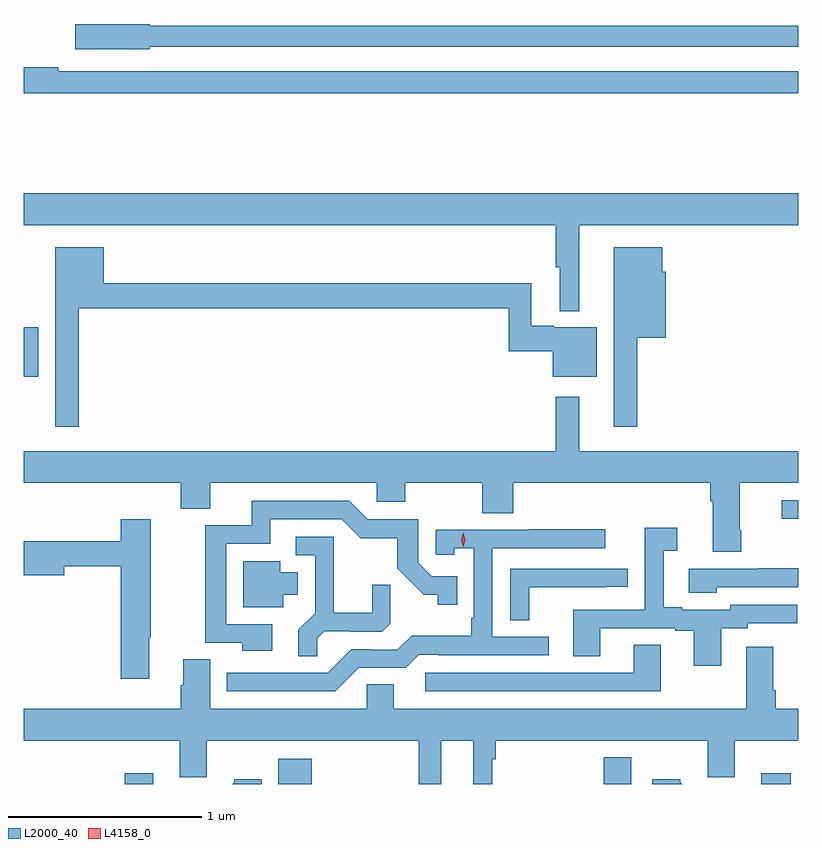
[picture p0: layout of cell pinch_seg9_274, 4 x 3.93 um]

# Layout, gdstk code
import gdstk
lib = gdstk.Library(unit=1e-6, precision=1e-09)
def R(c, l, rs):  # rectangles x0, y0, x1, y1
    for r in rs: c.add(gdstk.rectangle(r[:2], r[2:], *l))
def P(c, l, *ps):  # polygons
    for p in ps: c.add(gdstk.Polygon(p, *l))
L2000_40 = (2000, 40)
L4158_0 = (4158, 0)

pinch_seg9_274 = lib.new_cell('pinch_seg9_274')
R(pinch_seg9_274, L2000_40, [(418.45,1182.876,418.597,1182.931), (419.243,1182.876,419.417,1183.006), (420.925,1182.876,421.068,1183.015), (421.739,1182.876,421.892,1182.931), (421.845,1184.247,421.929,1184.343), (417.929,1184.981,418.003,1185.235)])
P(pinch_seg9_274, L2000_40, [(418.578,1186.686),(421.929,1186.686),(421.929,1186.795),(418.578,1186.795),(418.578,1186.803),(418.194,1186.803),(418.194,1186.673),(418.578,1186.673)],
  [(421.929,1186.56),(418.106,1186.56),(418.106,1186.58),(417.929,1186.58),(417.929,1186.444),(421.929,1186.444)],
  [(420.799,1185.764),(421.929,1185.764),(421.929,1185.928),(417.929,1185.928),(417.929,1185.764),(420.678,1185.764),(420.678,1185.547),(420.697,1185.547),(420.697,1185.32),(420.799,1185.32)],
  [(421.099,1185.182),(421.246,1185.182),(421.246,1185.522),(421.228,1185.522),(421.228,1185.649),(420.977,1185.649),(420.977,1184.721),(421.099,1184.721)],
  [(418.213,1185.334),(420.433,1185.334),(420.433,1185.112),(420.662,1185.112),(420.662,1184.981),(420.889,1184.981),(420.889,1185.235),(420.666,1185.235),(420.666,1185.245),(420.55,1185.245),(420.55,1185.463),(418.342,1185.463),(418.342,1185.649),(418.091,1185.649),(418.091,1184.721),(418.213,1184.721)],
  [(421.635,1184.188),(421.627,1184.188),(421.627,1184.432),(421.929,1184.432),(421.929,1184.596),(420.799,1184.596),(420.799,1184.878),(420.678,1184.878),(420.678,1184.596),(417.929,1184.596),(417.929,1184.432),(418.739,1184.432),(418.739,1184.299),(418.891,1184.299),(418.891,1184.432),(419.751,1184.432),(419.751,1184.334),(419.898,1184.334),(419.898,1184.432),(420.298,1184.432),(420.298,1184.275),(420.458,1184.275),(420.458,1184.432),(421.475,1184.432),(421.475,1184.336),(421.487,1184.336),(421.487,1184.076),(421.635,1184.076)],
  [(419.212,1183.701),(418.974,1183.701),(418.974,1184.118),(419.203,1184.118),(419.203,1184.244),(419.571,1184.244),(419.67,1184.146),(419.859,1184.146),(419.859,1183.99),(419.996,1183.853),(420.066,1183.853),(420.066,1183.803),(420.167,1183.803),(420.167,1183.95),(420.036,1183.95),(419.967,1184.019),(419.967,1184.244),(419.706,1184.244),(419.61,1184.34),(419.105,1184.34),(419.105,1184.214),(418.866,1184.214),(418.866,1183.605),(419.056,1183.605),(419.056,1183.565),(419.212,1183.565)],
  [(418.576,1183.631),(418.584,1183.631),(418.584,1184.245),(418.43,1184.245),(418.43,1184.131),(417.929,1184.131),(417.929,1183.955),(418.138,1183.955),(418.138,1184.002),(418.43,1184.002),(418.43,1183.419),(418.576,1183.419)],
  [(421.531,1183.68),(421.668,1183.68),(421.668,1183.707),(421.924,1183.707),(421.924,1183.803),(421.578,1183.803),(421.578,1183.776),(421.33,1183.776),(421.33,1183.789),(421.234,1183.789),(421.234,1184.08),(421.306,1184.08),(421.306,1184.2),(421.137,1184.2),(421.137,1183.776),(420.767,1183.776),(420.767,1183.537),(420.907,1183.537),(420.907,1183.68),(421.295,1183.68),(421.295,1183.668),(421.391,1183.668),(421.391,1183.488),(421.531,1183.488)],
  [(419.658,1183.476),(419.901,1183.476),(419.97,1183.545),(420.07,1183.545),(420.07,1183.542),(420.64,1183.542),(420.64,1183.638),(420.348,1183.638),(420.348,1184.094),(420.934,1184.094),(420.934,1184.193),(420.541,1184.193),(420.541,1184.19),(420.057,1184.19),(420.057,1184.061),(420.153,1184.061),(420.153,1184.093),(420.252,1184.093),(420.252,1183.735),(420.24,1183.735),(420.24,1183.642),(419.932,1183.642),(419.859,1183.569),(419.72,1183.569),(419.72,1183.572),(419.619,1183.572),(419.499,1183.452),(418.976,1183.452),(418.976,1183.356),(419.538,1183.356)],
  [(419.445,1183.628),(419.482,1183.665),(419.616,1183.665),(419.616,1183.662),(419.781,1183.662),(419.822,1183.703),(419.822,1183.905),(419.728,1183.905),(419.728,1183.762),(419.531,1183.762),(419.531,1184.154),(419.334,1184.154),(419.334,1184.058),(419.433,1184.058),(419.433,1183.759),(419.347,1183.673),(419.347,1183.537),(419.445,1183.537)],
  [(419.269,1183.853),(419.344,1183.853),(419.344,1183.969),(419.254,1183.969),(419.254,1184.026),(419.063,1184.026),(419.063,1183.79),(419.269,1183.79)],
  [(421.509,1183.893),(421.929,1183.893),(421.929,1183.992),(421.723,1183.992),(421.723,1183.989),(421.365,1183.989),(421.365,1183.865),(421.509,1183.865)],
  [(420.54,1183.893),(420.935,1183.893),(420.935,1183.894),(421.048,1183.894),(421.048,1183.989),(420.441,1183.989),(420.441,1183.723),(420.54,1183.723)],
  [(421.219,1183.595),(421.079,1183.595),(421.079,1183.452),(420.003,1183.452),(420.003,1183.356),(421.219,1183.356)],
  [(420.085,1183.1),(420.251,1183.1),(420.251,1182.876),(420.348,1182.876),(420.348,1183.004),(420.368,1183.004),(420.368,1183.1),(421.463,1183.1),(421.463,1182.91),(421.603,1182.91),(421.603,1183.1),(421.929,1183.1),(421.929,1183.264),(421.814,1183.264),(421.814,1183.36),(421.801,1183.36),(421.801,1183.585),(421.661,1183.585),(421.661,1183.264),(419.839,1183.264),(419.839,1183.391),(419.7,1183.391),(419.7,1183.264),(418.891,1183.264),(418.891,1183.52),(418.751,1183.52),(418.751,1183.386),(418.739,1183.386),(418.739,1183.264),(417.929,1183.264),(417.929,1183.1),(418.733,1183.1),(418.733,1182.91),(418.873,1182.91),(418.873,1183.1),(419.968,1183.1),(419.968,1182.88),(419.969,1182.88),(419.969,1182.876),(420.085,1182.876)],
  [(419.158,1182.901),(419.016,1182.901),(419.016,1182.886),(419.006,1182.876),(419.158,1182.876)],
  [(421.32,1182.886),(421.32,1182.901),(421.176,1182.901),(421.176,1182.876),(421.33,1182.876)])
P(pinch_seg9_274, L4158_0, [(420.199,1184.103),(420.199,1184.103),(420.189,1184.139),(420.199,1184.175),(420.199,1184.175),(420.199,1184.175),(420.209,1184.139),(420.199,1184.103)])

lib.write_gds('pinch_seg9_274.gds')
